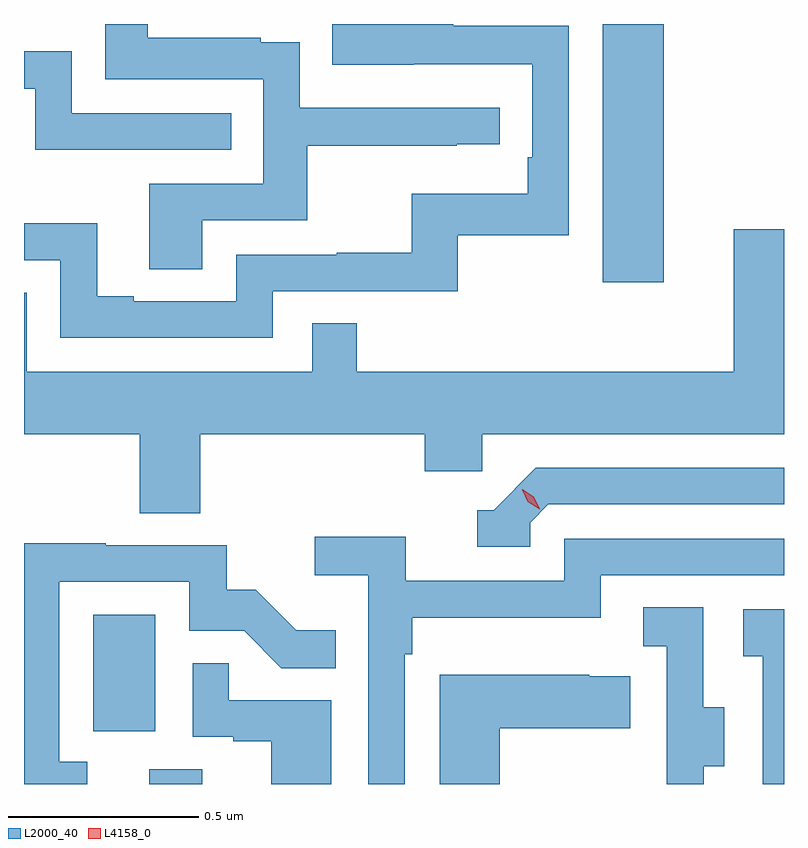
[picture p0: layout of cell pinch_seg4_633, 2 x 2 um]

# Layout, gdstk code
import gdstk
lib = gdstk.Library(unit=1e-6, precision=1e-09)
def R(c, l, rs):  # rectangles x0, y0, x1, y1
    for r in rs: c.add(gdstk.rectangle(r[:2], r[2:], *l))
def P(c, l, *ps):  # polygons
    for p in ps: c.add(gdstk.Polygon(p, *l))
L2000_40 = (2000, 40)
L4158_0 = (4158, 0)

pinch_seg4_633 = lib.new_cell('pinch_seg4_633')
R(pinch_seg4_633, L2000_40, [(1026.605,755.939,1026.745,755.978), (1026.458,756.078,1026.622,756.385), (1027.799,757.26,1027.96,757.939)])
P(pinch_seg4_633, L2000_40, [(1026.93,757.236),(1027.417,757.236),(1027.417,757.383),(1027.71,757.383),(1027.71,757.934),(1027.405,757.934),(1027.405,757.939),(1027.087,757.939),(1027.087,757.832),(1027.301,757.832),(1027.301,757.833),(1027.614,757.833),(1027.614,757.588),(1027.601,757.588),(1027.601,757.492),(1027.296,757.492),(1027.296,757.337),(1027.099,757.337),(1027.099,757.332),(1026.834,757.332),(1026.834,757.209),(1026.565,757.209),(1026.565,757.222),(1026.469,757.222),(1026.469,757.415),(1026.276,757.415),(1026.276,757.317),(1026.372,757.317),(1026.372,757.113),(1026.93,757.113)],
  [(1026.745,757.422),(1027.022,757.422),(1027.022,757.618),(1027.415,757.618),(1027.415,757.623),(1027.528,757.623),(1027.528,757.719),(1027.002,757.719),(1027.002,757.891),(1026.899,757.891),(1026.899,757.903),(1026.601,757.903),(1026.601,757.939),(1026.49,757.939),(1026.49,757.794),(1026.906,757.794),(1026.906,757.518),(1026.605,757.518),(1026.605,757.294),(1026.745,757.294)],
  [(1026.821,757.704),(1026.402,757.704),(1026.402,757.867),(1026.276,757.867),(1026.276,757.769),(1026.306,757.769),(1026.306,757.608),(1026.821,757.608)],
  [(1026.74,756.86),(1027.331,756.86),(1027.331,756.762),(1027.482,756.762),(1027.482,756.86),(1028.276,756.86),(1028.276,757.399),(1028.144,757.399),(1028.144,757.024),(1027.151,757.024),(1027.151,757.151),(1027.035,757.151),(1027.035,757.024),(1026.283,757.024),(1026.283,757.232),(1026.276,757.232),(1026.276,756.86),(1026.58,756.86),(1026.58,756.652),(1026.74,756.652)],
  [(1027.608,756.627),(1027.656,756.675),(1028.276,756.675),(1028.276,756.771),(1027.623,756.771),(1027.512,756.66),(1027.469,756.66),(1027.469,756.564),(1027.608,756.564)],
  [(1027.278,756.281),(1027.298,756.281),(1027.298,756.377),(1027.794,756.377),(1027.794,756.489),(1028.276,756.489),(1028.276,756.585),(1027.698,756.585),(1027.698,756.474),(1027.28,756.474),(1027.28,756.59),(1027.041,756.59),(1027.041,756.488),(1027.182,756.488),(1027.182,755.939),(1027.278,755.939)],
  [(1026.442,755.997),(1026.369,755.997),(1026.369,756.471),(1026.711,756.471),(1026.711,756.342),(1026.855,756.342),(1026.953,756.244),(1027.097,756.244),(1027.097,756.343),(1026.993,756.343),(1026.886,756.45),(1026.81,756.45),(1026.81,756.567),(1026.491,756.567),(1026.491,756.572),(1026.276,756.572),(1026.276,755.939),(1026.442,755.939)],
  [(1028.065,755.986),(1028.119,755.986),(1028.119,756.141),(1028.064,756.141),(1028.064,756.404),(1027.905,756.404),(1027.905,756.301),(1027.968,756.301),(1027.968,755.997),(1027.967,755.997),(1027.967,755.939),(1028.065,755.939)],
  [(1028.276,756.399),(1028.169,756.399),(1028.169,756.275),(1028.22,756.275),(1028.22,755.939),(1028.276,755.939)],
  [(1027.084,756.159),(1026.815,756.159),(1026.815,756.257),(1026.72,756.257),(1026.72,756.063),(1026.827,756.063),(1026.827,756.051),(1026.926,756.051),(1026.926,755.939),(1027.084,755.939)],
  [(1027.528,756.086),(1027.871,756.086),(1027.871,756.223),(1027.763,756.223),(1027.763,756.226),(1027.37,756.226),(1027.37,755.939),(1027.528,755.939)])
P(pinch_seg4_633, L4158_0, [(1027.633,756.662),(1027.602,756.682),(1027.587,756.714),(1027.587,756.715),(1027.587,756.715),(1027.618,756.695),(1027.633,756.662),(1027.633,756.662)])

lib.write_gds('pinch_seg4_633.gds')
